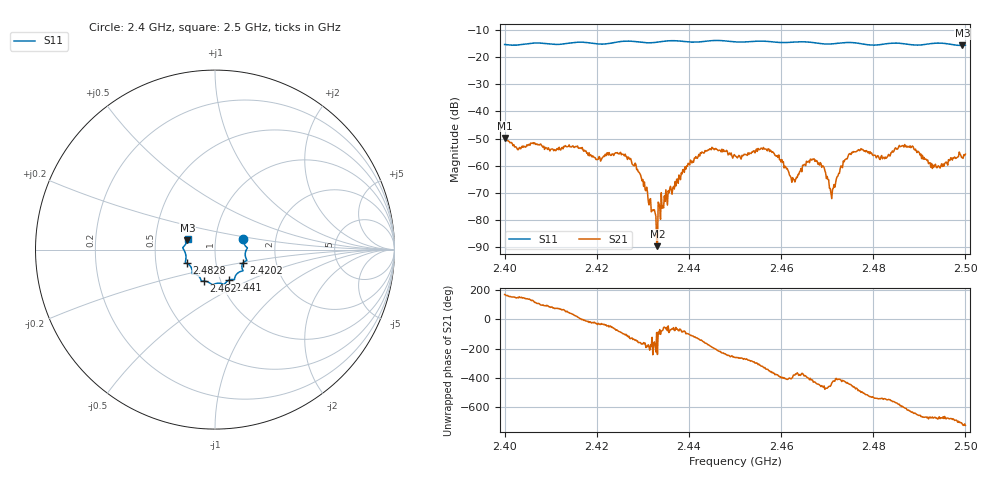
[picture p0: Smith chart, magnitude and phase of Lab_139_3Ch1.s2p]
# Hz S RI R 50
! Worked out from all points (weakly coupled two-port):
!   601 points, 2.4 GHz to 2.5 GHz, reference 50 ohm
!   highest |S21| = -49.79 dB at 2.4 GHz (marker M1); lowest = -89.5 dB at 2.4332 GHz (marker M2)
!   lowest |S11| = -15.8 dB at 2.4993 GHz (marker M3), VSWR 1.39, Z = 36.5 + j3.89 ohm
!   |S11| at or under -10 dB: start of sweep to end of sweep
!   S12 and S22 are empty: the file has one direction only
!   S11 on the Smith chart (normalised r, x): 2.4 GHz: 1.36, +0.17; 2.4202 GHz: 1.36, -0.20; 2.441 GHz: 1.10, -0.39; 2.462 GHz: 0.83, -0.30; 2.4828 GHz: 0.72, -0.11; 2.5 GHz: 0.73, +0.09
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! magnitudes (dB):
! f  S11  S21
! 2.4 GHz  -15.4  -49.8
! 2.403 GHz  -15.6  -54.0
! 2.4167 GHz  -14.6  -53.7
! 2.4202 GHz  -15.2  -57.7
! 2.427 GHz  -14.2  -57.1
! 2.4332 GHz  -14.5  -89.5
! 2.4333 GHz  -14.5  -73.3
! 2.441 GHz  -14.6  -58.7
! 2.4448 GHz  -14.0  -54.1
! 2.45 GHz  -14.4  -56.2
! 2.4572 GHz  -14.3  -53.8
! 2.462 GHz  -14.6  -63.8
! 2.4667 GHz  -14.6  -57.9
! 2.469 GHz  -15.2  -60.1
! 2.471 GHz  -15.2  -72.1
! 2.4752 GHz  -14.7  -55.9
! 2.4828 GHz  -15.1  -57.2
! 2.4833 GHz  -15.0  -55.8
! 2.4882 GHz  -15.5  -53.3
! 2.4942 GHz  -14.9  -60.0
! 2.4993 GHz  -15.8  -56.9
! 2.5 GHz  -15.7  -55.7
